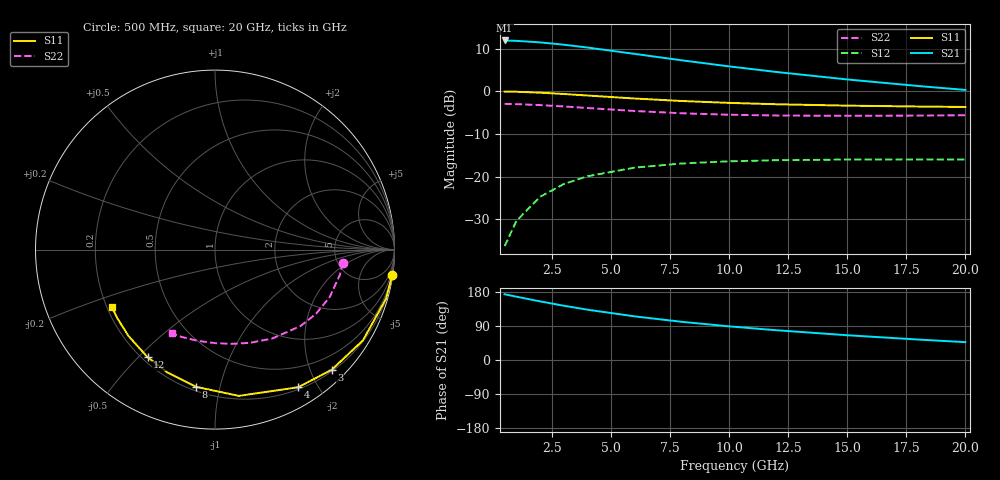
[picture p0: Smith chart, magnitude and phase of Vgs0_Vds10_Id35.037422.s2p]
# Hz S RI R 50
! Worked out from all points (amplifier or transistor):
!   12 points, 500 MHz to 20 GHz, reference 50 ohm
!   highest |S21| = 12.0 dB at 500 MHz (marker M1)
!   |S21| within 3 dB of that: start of sweep to 5.801 GHz
!   unconditionally stable (mu >= 1): 18.27 GHz to end of sweep
!   at 2 GHz: K = 0.10, MSG = 18.1 dB, |S12| = -24.7 dB
!   at 8 GHz: K = 0.41, MSG = 12.1 dB, |S12| = -16.9 dB
!   at 20 GHz: K = 1.11, MAG = 6.2 dB, |S12| = -16.0 dB
!   S11 on the Smith chart (normalised r, x): 500 MHz: 0, -14; 3 GHz: 0.23, -2.34; 4 GHz: 0.23, -1.75; 8 GHz: 0.22, -0.85; 12 GHz: 0.22, -0.53; 20 GHz: 0.22, -0.25
5e8  0.9878 -0.1404  -3.937 0.4476  0.00147 0.0152  0.711 -0.0719
1e9  0.9523 -0.2748  -3.821 0.8752  0.00576 0.0297  0.6955 -0.1412
2e9  0.8241 -0.506  -3.401 1.606  0.0212 0.0541  0.6392 -0.2643
3e9  0.6497 -0.67  -2.832 2.115  0.0421 0.0702  0.5616 -0.3591
4e9  0.463 -0.7669  -2.226 2.401  0.0642 0.078  0.4768 -0.4256
6e9  0.1334 -0.815  -1.171 2.497  0.1024 0.0762  0.3192 -0.4954
8e9  -0.1048 -0.7649  -0.432 2.276  0.1283 0.0627  0.1923 -0.5198
1e10  -0.2661 -0.6839  0.0412 1.966  0.144 0.0463  0.0915 -0.525
1.2e10  -0.3758 -0.5991  0.3362 1.658  0.153 0.0304  0.00802 -0.5218
1.5e10  -0.4812 -0.4823  0.5769 1.256  0.1586 0.00934  -0.0972 -0.5083
1.8e10  -0.545 -0.3812  0.6812 0.9366  0.1591 -0.00786  -0.1866 -0.4863
2e10  -0.5735 -0.3214  0.7084 0.764  0.1579 -0.0175  -0.2394 -0.4674
